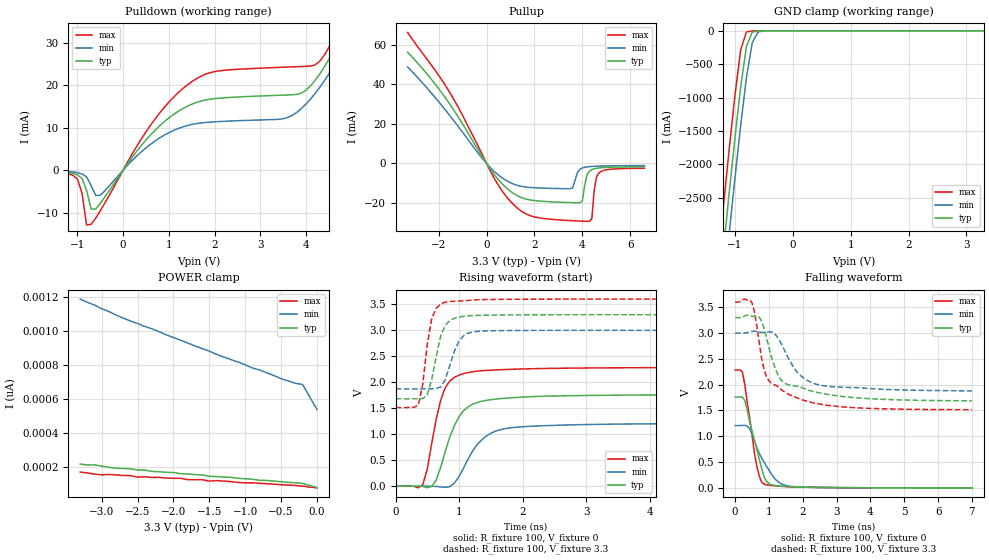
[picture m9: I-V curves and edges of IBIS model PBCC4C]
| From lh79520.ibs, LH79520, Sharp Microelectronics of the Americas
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[Model]   PBCC4C
Model_type I/O
Enable Active-High
Polarity Non-Inverting
Vinh=2.0
Vinl=0.8
Vmeas=1.65
C_comp   3.0pF   3.0pF   3.0pF
[Model Spec]
[Temperature Range] 25   85   -40
[Voltage Range]   3.3   3.0   3.6
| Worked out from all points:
|   slope of the pulldown table from 0 to 0.495 V, typ, clamps not added: 70.3 ohm
|   slope of the pullup table from 0 to 0.495 V, typ, clamps not added: 60.2 ohm
|   GND clamp passes 1 mA (typ) near -0.59 V on its own axis
|   falling waveform, R_fixture 100, V_fixture 0: 20-80 % time 405ps typ, 562ps min, 309ps max; typ from 1.76 V to 0 V
|   falling waveform, R_fixture 100, V_fixture 3.3: 20-80 % time 633ps typ, 707ps min, 687ps max; typ from 3.3 V to 1.69 V
|   rising waveform, R_fixture 100, V_fixture 0: 20-80 % time 335ps typ, 407ps min, 245ps max; typ from 0 V to 1.76 V
|   rising waveform, R_fixture 100, V_fixture 3.3: 20-80 % time 183ps typ, 197ps min, 141ps max; typ from 1.68 V to 3.3 V
[Pullup]
-3.3V     56.17mA    48.7mA     66.08mA
-1.5V     29.26mA    23.61mA    35.02mA
200mV     -3.631mA   -2.618mA   -4.804mA
1.6V      -17.8mA    -11.84mA   -25.12mA
3.5V      -19.74mA   -12.74mA   -28.82mA
3.9V      -19.83mA   -2.963mA   -29.05mA
4V        -18.94mA   -2.305mA   -29.11mA
4.3V      -3.869mA   -1.601mA   -29.17mA
4.4V      -3.107mA   -1.5mA     -28.03mA
4.5V      -2.698mA   -1.425mA   -13.57mA
4.7V      -2.275mA   -1.32mA    -4.747mA
6.6V      -1.635mA   -1.057mA   -2.394mA
[Pulldown]
-3.3V     -79uA      -52uA      -100uA
-1.1V     -749.9uA   -423uA     -1.208mA
-800mV    -4.793mA   -1.596mA   -12.93mA
-700mV    -9.162mA   -3.662mA   -12.73mA
-500mV    -7.808mA   -5.906mA   -9.564mA
600mV     8.295mA    6.091mA    10.59mA
1.6V      15.92mA    10.95mA    21.49mA
3.6V      17.7mA     12.39mA    24.26mA
4.2V      21.1mA     18.03mA    24.76mA
4.7V      30.15mA    26.07mA    33.33mA
5.1V      39.82mA    33.95mA    44.95mA
6.6V      86.97mA    70.18mA    105.6mA
[GND Clamp]
-3.3V     -22.33A    -22.9A     -21.74A
-1.3V     -4.165A    -4.777A    -3.514A
-1.2V     -3.293A    -3.906A    -2.639A
-1.1V     -2.437A    -3.049A    -1.785A
-1V       -1.608A    -2.213A    -971.6mA
-900mV    -838.5mA   -1.415A    -282.7mA
-800mV    -231.2mA   -694.6mA   -16.39mA
-700mV    -18.3mA    -177.3mA   -2.444mA
-600mV    -1.112mA   -18.02mA   -425.1uA
-400mV    -3.806uA   -62.61uA   -948.1nA
3.3V      77.56pA    691.4pA    69.16pA
[POWER Clamp]
-3.3V     215.7pA    1.187nA    168.3pA
-3V       203.7pA    1.13nA     151.9pA
-2.7V     189.9pA    1.075nA    148.2pA
-2.6V     187.4pA    1.058nA    147.7pA
-2.5V     181.1pA    1.043nA    138.8pA
-1.6V     151.7pA    895.8pA    123.6pA
-1.5V     143.8pA    880pA      115.2pA
-1.4V     142.1pA    862.1pA    118.2pA
-500mV    111.8pA    718.5pA    93.81pA
-300mV    105.6pA    691.2pA    89.78pA
-200mV    101.8pA    684pA      85.21pA
0V        77.79pA    537.5pA    75.54pA
[Falling Waveform]
R_fixture=100
V_fixture=0
V_fixture_min=0
V_fixture_max=0
0s        1.76V      1.207V     2.284V
212.1ps   1.762V     1.211V     2.247V
282.8ps   1.694V     1.213V     2.009V
424.2ps   1.294V     1.148V     1.373V
636.4ps   753.8mV    791mV      432.4mV
777.8ps   391.1mV    585.3mV    116.8mV
848.5ps   223mV      505.4mV    74.87mV
1.202ns   44.83mV    156.1mV    38.64mV
1.626ns   23.2mV     30.68mV    21.45mV
7ns       73.73uV    72.59uV    86.4uV
[Falling Waveform]
R_fixture=100
V_fixture=3.3
V_fixture_min=3.0
V_fixture_max=3.6
0s        3.3V       3V         3.6V
494.9ps   3.325V     3.035V     3.594V
707.1ps   3.31V      3.022V     2.839V
848.5ps   3.104V     3.012V     2.314V
989.9ps   2.744V     3.023V     2.082V
1.273ns   2.185V     2.899V     1.956V
1.626ns   1.991V     2.45V      1.799V
1.98ns    1.942V     2.15V      1.707V
2.616ns   1.827V     1.979V     1.611V
7ns       1.687V     1.879V     1.515V
[Rising Waveform]
R_fixture=100
V_fixture=0
V_fixture_min=0
V_fixture_max=0
0s        0V         0V         0V
424.2ps   -6.508mV   2.278mV    28.09mV
494.9ps   -27.49mV   3.505mV    330.7mV
636.4ps   120.2mV    -4.278mV   1.297V
777.8ps   665.3mV    -22.24mV   1.895V
919.2ps   1.159V     56.02mV    2.093V
1.061ns   1.447V     334.7mV    2.166V
1.414ns   1.65V      955.6mV    2.227V
1.838ns   1.703V     1.128V     2.25V
7ns       1.76V      1.207V     2.284V
[Rising Waveform]
R_fixture=100
V_fixture=3.3
V_fixture_min=3.0
V_fixture_max=3.6
0s        1.683V     1.874V     1.513V
353.5ps   1.682V     1.872V     1.557V
424.2ps   1.687V     1.872V     1.963V
494.9ps   1.76V      1.872V     2.727V
565.7ps   2.056V     1.874V     3.228V
707.1ps   2.894V     1.911V     3.507V
777.8ps   3.094V     2.051V     3.542V
989.9ps   3.254V     2.781V     3.563V
1.273ns   3.287V     2.978V     3.587V
7ns       3.3V       3V         3.6V
[Ramp]
R_load=100
dV/dt_r   1.056E+0/3.310E-10   7.242E-1/4.064E-10   1.371E+0/2.425E-10
dV/dt_f   9.678E-1/6.292E-10   6.724E-1/7.040E-10   1.251E+0/6.849E-10
|[End   PBCC4C
